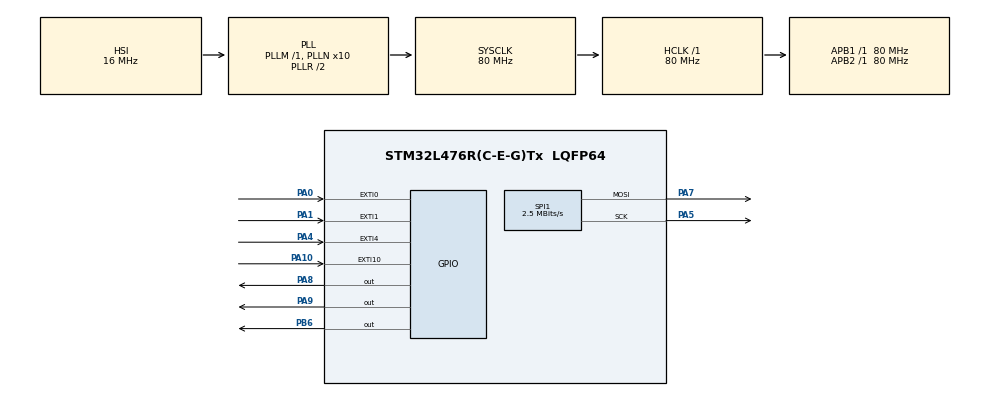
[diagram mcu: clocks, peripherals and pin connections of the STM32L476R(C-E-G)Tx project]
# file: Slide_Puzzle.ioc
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Mcu.Family=STM32L4
Mcu.Name=STM32L476R(C-E-G)Tx
Mcu.Package=LQFP64
NVIC.EXTI0_IRQn=true\:0\:0\:false\:false\:true\:true\:true\:true
NVIC.EXTI15_10_IRQn=true\:0\:0\:false\:false\:true\:true\:true\:true
NVIC.EXTI1_IRQn=true\:0\:0\:false\:false\:true\:true\:true\:true
NVIC.EXTI4_IRQn=true\:0\:0\:false\:false\:true\:true\:true\:true
NVIC.PriorityGroup=NVIC_PRIORITYGROUP_4
NVIC.TIM1_UP_TIM16_IRQn=true\:0\:0\:false\:false\:true\:true\:true\:true
PA0.GPIO_ModeDefaultEXTI=GPIO_MODE_IT_FALLING
PA0.GPIO_PuPd=GPIO_PULLUP
PA0.Signal=GPXTI0
PA1.GPIO_ModeDefaultEXTI=GPIO_MODE_IT_FALLING
PA1.GPIO_PuPd=GPIO_PULLUP
PA1.Signal=GPXTI1
PA10.GPIO_ModeDefaultEXTI=GPIO_MODE_IT_FALLING
PA10.GPIO_PuPd=GPIO_PULLUP
PA10.Signal=GPXTI10
PA13\ (JTMS-SWDIO).GPIO_Label=TMS
PA13\ (JTMS-SWDIO).Mode=Serial_Wire
PA13\ (JTMS-SWDIO).Signal=SYS_JTMS-SWDIO
PA14\ (JTCK-SWCLK).GPIO_Label=TCK
PA14\ (JTCK-SWCLK).Mode=Serial_Wire
PA14\ (JTCK-SWCLK).Signal=SYS_JTCK-SWCLK
PA4.GPIO_ModeDefaultEXTI=GPIO_MODE_IT_FALLING
PA4.GPIO_PuPd=GPIO_PULLUP
PA4.Signal=GPXTI4
PA5.Mode=TX_Only_Simplex_Unidirect_Master
PA5.Signal=SPI1_SCK
PA7.Mode=TX_Only_Simplex_Unidirect_Master
PA7.Signal=SPI1_MOSI
PA8.Signal=GPIO_Output
PA9.Signal=GPIO_Output
PB3\ (JTDO-TRACESWO).GPIO_Label=SWO
PB3\ (JTDO-TRACESWO).Signal=SYS_JTDO-SWO
PB6.Signal=GPIO_Output
PC14-OSC32_IN\ (PC14).Mode=LSE-External-Oscillator
PC14-OSC32_IN\ (PC14).Signal=RCC_OSC32_IN
PC15-OSC32_OUT\ (PC15).Mode=LSE-External-Oscillator
PC15-OSC32_OUT\ (PC15).Signal=RCC_OSC32_OUT
PH0-OSC_IN\ (PH0).Signal=RCC_OSC_IN
PH1-OSC_OUT\ (PH1).Signal=RCC_OSC_OUT
ProjectManager.HeapSize=0x200
ProjectManager.StackSize=0x400
ProjectManager.TargetToolchain=STM32CubeIDE
RCC.ADCFreq_Value=64000000
RCC.AHBFreq_Value=80000000
RCC.APB1Freq_Value=80000000
RCC.APB1TimFreq_Value=80000000
RCC.APB2Freq_Value=80000000
RCC.APB2TimFreq_Value=80000000
RCC.CortexFreq_Value=80000000
RCC.HCLKFreq_Value=80000000
RCC.HSE_VALUE=8000000
RCC.HSI_VALUE=16000000
RCC.MSI_VALUE=4000000
RCC.PLLN=10
RCC.PLLSourceVirtual=RCC_PLLSOURCE_HSI
RCC.PREFETCH_ENABLE=1
RCC.SYSCLKFreq_VALUE=80000000
RCC.SYSCLKSource=RCC_SYSCLKSOURCE_PLLCLK
RCC.USBFreq_Value=64000000
RCC.VCOOutputFreq_Value=160000000
SPI1.BaudRatePrescaler=SPI_BAUDRATEPRESCALER_32
SPI1.CalculateBaudRate=2.5 MBits/s
SPI1.DataSize=SPI_DATASIZE_8BIT
SPI1.Direction=SPI_DIRECTION_2LINES
SPI1.Mode=SPI_MODE_MASTER
SPI1.VirtualType=VM_MASTER
TIM16.Period=9999
TIM16.Prescaler=7999
VP_TIM16_VS_ClockSourceINT.Mode=Enable_Timer
board=NUCLEO-L476RG

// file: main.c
/* USER CODE BEGIN Header */
/**
 ******************************************************************************
 * @file           : main.c
 * @brief          : Main program body
 ******************************************************************************
 * @attention
 *
 * Copyright (c) 2023 STMicroelectronics.
 * All rights reserved.
 *
 * This software is licensed under terms that can be found in the LICENSE file
 * in the root directory of this software component.
 * If no LICENSE file comes with this software, it is provided AS-IS.
 *
 ******************************************************************************
 */
/* USER CODE END Header */
#include "main.h"

/* USER CODE BEGIN Includes */
#include <stdio.h>
#include <stdlib.h>

/* USER CODE END Includes */

/* USER CODE BEGIN PM */
#define CE_PORT GPIOB // PB6 chip enable (aka slave select)
#define CE_PIN GPIO_PIN_6
#define DC_PORT GPIOA // PA0 data/control
#define DC_PIN GPIO_PIN_8
#define RESET_PORT GPIOA // PA1 reset
#define RESET_PIN GPIO_PIN_9
#define GLCD_WIDTH 84
#define GLCD_HEIGHT 48
#define NUM_BANKS 6

/* USER CODE END PM */

SPI_HandleTypeDef hspi1;

TIM_HandleTypeDef htim16;

/* USER CODE BEGIN PV */

// table containing all of the different numbers for the puzzle
const char puzzle_piece_table[][21] = { { 0xFF, 0xFF, 0xFF, 0xFF, 0xFF, 0xFF, 0xFF,
		0xFF, 0xFF, 0xFF, 0xFF, 0xFF, 0xFF, 0xFF, 0xFF, 0xFF, 0xFF, 0xFF, 0xFF,
		0xFF, 0xFF }, // 'block'    0

		{ 0x00, 0x00, 0x00, 0x00, 0x00, 0x00, 0x00, 0x08, 0x0C, 0xFE, 0xFE,
				0xFE, 0x00, 0x00, 0x00, 0x00, 0x00, 0x00, 0x00, 0x00, 0x00 }, // 'top 1'    1

		{ 0x00, 0x00, 0x00, 0x00, 0x00, 0x00, 0x00, 0x70, 0x70, 0x7F, 0x7F,
				0x7F, 0x70, 0x70, 0x00, 0x00, 0x00, 0x00, 0x00, 0x00, 0x00 }, // 'bottom 1' 2

		{ 0x00, 0x00, 0x00, 0x00, 0x00, 0x00, 0x00, 0x18, 0x1C, 0x06, 0x06,
				0x0E, 0xFC, 0xF8, 0x00, 0x00, 0x00, 0x00, 0x00, 0x00, 0x00 }, // 'top 2'    3

		{ 0x00, 0x00, 0x00, 0x00, 0x00, 0x00, 0x00, 0x70, 0x78, 0x7C, 0x6E,
				0x67, 0x63, 0x61, 0x00, 0x00, 0x00, 0x00, 0x00, 0x00, 0x00 }, // 'bottom 2' 4

		{ 0x00, 0x00, 0x00, 0x00, 0x00, 0x00, 0x00, 0x18, 0x1C, 0x0E, 0x8E,
				0x8E, 0xFC, 0x78, 0x00, 0x00, 0x00, 0x00, 0x00, 0x00, 0x00 }, // 'top 3'    5

		{ 0x00, 0x00, 0x00, 0x00, 0x00, 0x00, 0x00, 0x18, 0x38, 0x70, 0x71,
				0x71, 0x3F, 0x1E, 0x00, 0x00, 0x00, 0x00, 0x00, 0x00, 0x00 }, // 'bottom 3' 6

		{ 0x00, 0x00, 0x00, 0x00, 0x00, 0x00, 0x00, 0xFE, 0xFE, 0x80, 0x80,
				0x80, 0xFE, 0xFE, 0x00, 0x00, 0x00, 0x00, 0x00, 0x00, 0x00 }, // 'top 4'    7

		{ 0x00, 0x00, 0x00, 0x00, 0x00, 0x00, 0x00, 0x01, 0x01, 0x01, 0x01,
				0x01, 0x7F, 0x7F, 0x00, 0x00, 0x00, 0x00, 0x00, 0x00, 0x00 }, // 'bottom 4' 8

		{ 0x00, 0x00, 0x00, 0x00, 0x00, 0x00, 0x00, 0xFE, 0xFE, 0x86, 0x86,
				0x86, 0x86, 0x06, 0x00, 0x00, 0x00, 0x00, 0x00, 0x00, 0x00 }, // 'top 5'    9

		{ 0x00, 0x00, 0x00, 0x00, 0x00, 0x00, 0x00, 0x70, 0x71, 0x61, 0x61,
				0x61, 0x7F, 0x3F, 0x00, 0x00, 0x00, 0x00, 0x00, 0x00, 0x00 }, // 'bottom 5' 10

		{ 0x00, 0x00, 0x00, 0x00, 0x00, 0x00, 0x00, 0xFC, 0xFE, 0x06, 0x86,
				0x86, 0x8E, 0x0E, 0x00, 0x00, 0x00, 0x00, 0x00, 0x00, 0x00 }, // 'top 6'    11

		{ 0x00, 0x00, 0x00, 0x00, 0x00, 0x00, 0x00, 0x3F, 0x7F, 0x61, 0x61,
				0x61, 0x7F, 0x3F, 0x00, 0x00, 0x00, 0x00, 0x00, 0x00, 0x00 }, // 'bottom 6' 12

		{ 0x00, 0x00, 0x00, 0x00, 0x00, 0x00, 0x00, 0x06, 0x06, 0x86, 0xE6,
				0xF6, 0x7E, 0x1E, 0x00, 0x00, 0x00, 0x00, 0x00, 0x00, 0x00 }, // 'top 7'    13

		{ 0x00, 0x00, 0x00, 0x00, 0x00, 0x00, 0x00, 0x78, 0x7E, 0x1F, 0x07,
				0x01, 0x00, 0x00, 0x00, 0x00, 0x00, 0x00, 0x00, 0x00, 0x00 }, // 'bottom 7' 14

		{ 0x00, 0x00, 0x00, 0x00, 0x00, 0x00, 0x00, 0x7C, 0xFE, 0x86, 0x86,
				0x86, 0xFE, 0x7C, 0x00, 0x00, 0x00, 0x00, 0x00, 0x00, 0x00 }, // 'top 8'    15

		{ 0x00, 0x00, 0x00, 0x00, 0x00, 0x00, 0x00, 0x3E, 0x7F, 0x61, 0x61,
				0x61, 0x7F, 0x3E, 0x00, 0x00, 0x00, 0x00, 0x00, 0x00, 0x00 }, // 'bottom 8' 16

		{ 0x00, 0x00, 0x00, 0x00, 0x00, 0x00, 0x00, 0xFE, 0xFE, 0x86, 0x86,
				0x86, 0xFE, 0xFE, 0x00, 0x00, 0x00, 0x00, 0x00, 0x00, 0x00 }, // 'top 9'    17

		{ 0x00, 0x00, 0x00, 0x00, 0x00, 0x00, 0x00, 0x01, 0x01, 0x01, 0x01,
				0x01, 0x7F, 0x7F, 0x00, 0x00, 0x00, 0x00, 0x00, 0x00, 0x00 }, // 'bottom 9' 18

		{ 0x00, 0x00, 0x00, 0x08, 0x0C, 0xFE, 0xFE, 0xFE, 0x00, 0x00, 0x00,
				0xFC, 0xFE, 0x06, 0x06, 0x06, 0xFE, 0xFC, 0x00, 0x00, 0x00 }, // 'top 10'    19

		{ 0x00, 0x00, 0x00, 0x70, 0x70, 0x7F, 0x7F, 0x7F, 0x70, 0x70, 0x00,
				0x3F, 0x7F, 0x60, 0x60, 0x60, 0x7F, 0x3F, 0x00, 0x00, 0x00 }, // 'bottom 10' 20

		{ 0x00, 0x00, 0x00, 0x08, 0x0C, 0xFE, 0xFE, 0xFE, 0x00, 0x00, 0x00,
				0x08, 0x0C, 0xFE, 0xFE, 0xFE, 0x00, 0x00, 0x00, 0x00, 0x00 }, // 'top 11'    21

		{ 0x00, 0x00, 0x00, 0x70, 0x70, 0x7F, 0x7F, 0x7F, 0x70, 0x70, 0x00,
				0x70, 0x70, 0x7F, 0x7F, 0x7F, 0x70, 0x70, 0x00, 0x00, 0x00 }, // 'bottom 11' 22

		{ 0x00, 0x00, 0x00, 0x00, 0x00, 0x00, 0x00, 0xFC, 0xFE, 0x06, 0x06,
				0x06, 0xFE, 0xFC, 0x00, 0x00, 0x00, 0x00, 0x00, 0x00, 0x00 }, // 'top 0'     23

		{ 0x00, 0x00, 0x00, 0x00, 0x00, 0x00, 0x00, 0x3F, 0x7F, 0x60, 0x60,
				0x60, 0x7F, 0x3F, 0x00, 0x00, 0x00, 0x00, 0x00, 0x00, 0x00 }, // 'bottom 0'  24

		};

// table containing the font
const char font_table[][6] = { { 0x00, 0x00, 0x00, 0x00, 0x00, 0x00 }, // space 0
		{ 0x00, 0x00, 0x5F, 0x00, 0x00, 0x00 }, // '!' 1
		{ 0x7E, 0x11, 0x11, 0x11, 0x7E, 0x00 }, // 'A' 2
		{ 0x7F, 0x49, 0x49, 0x49, 0x36, 0x00 }, // 'B' 3
		{ 0x3E, 0x41, 0x41, 0x41, 0x22, 0x00 }, // 'C' 4
		{ 0x7F, 0x41, 0x41, 0x41, 0x3E, 0x00 }, // 'D' 5
		{ 0x7F, 0x49, 0x49, 0x49, 0x41, 0x00 }, // 'E' 6
		{ 0x7F, 0x09, 0x09, 0x09, 0x01, 0x00 }, // 'F' 7
		{ 0x7F, 0x41, 0x59, 0x49, 0x7B, 0x00 }, // 'G' 8
		{ 0x7F, 0x08, 0x08, 0x08, 0x7F, 0x00 }, // 'H' 9
		{ 0x41, 0x41, 0x7F, 0x41, 0x41, 0x00 }, // 'I' 10
		{ 0x21, 0x41, 0x3F, 0x01, 0x01, 0x00 }, // 'J' 11
		{ 0x7F, 0x08, 0x14, 0x22, 0x41, 0x00 }, // 'K' 12
		{ 0x7F, 0x40, 0x40, 0x40, 0x40, 0x00 }, // 'L' 13
		{ 0x7F, 0x02, 0x04, 0x02, 0x7F, 0x00 }, // 'M' 14
		{ 0x7F, 0x06, 0x18, 0x60, 0x7F, 0x00 }, // 'N' 15
		{ 0x3E, 0x41, 0x41, 0x41, 0x3E, 0x00 }, // 'O' 16
		{ 0x7F, 0x09, 0x09, 0x09, 0x0F, 0x00 }, // 'P' 17
		{ 0x3E, 0x41, 0x41, 0x61, 0x7E, 0x00 }, // 'Q' 18
		{ 0x7F, 0x09, 0x19, 0x29, 0x47, 0x00 }, // 'R' 19
		{ 0x62, 0x4D, 0x49, 0x59, 0x23, 0x00 }, // 'S' 20
		{ 0x01, 0x01, 0x7F, 0x01, 0x01, 0x00 }, // 'T' 21
		{ 0x3F, 0x40, 0x40, 0x40, 0x3F, 0x00 }, // 'U' 22
		{ 0x0F, 0x30, 0x40, 0x30, 0x0F, 0x00 }, // 'V' 23
		{ 0x3F, 0x40, 0x78, 0x40, 0x3F, 0x00 }, // 'W' 24
		{ 0x41, 0x36, 0x08, 0x36, 0x41, 0x00 }, // 'X' 25
		{ 0x01, 0x06, 0x78, 0x06, 0x01, 0x00 }, // 'Y' 26
		{ 0x61, 0x51, 0x49, 0x45, 0x43, 0x00 }, // 'Z' 27
		{ 0x00, 0x00, 0x7E, 0x81, 0xB5, 0xA1 }, // front of smiley face 28
		{ 0xA1, 0xB5, 0x81, 0x7E, 0x00, 0x00 }  // back  of smiley face 29

};

// used for saving where the last piece was placed
unsigned int xPosition = 0;
unsigned int yPosition = 0;

// boolean variables used to tell the system whether a piece can be moved in a certain direction
int right = 0;
int left = 0;
int up = 0;
int down = 0;

// boolean variable that tells the display functions whether the input is a piece or a number
int piece = 1;

// the array that is mixed up and the solved array that it is compared to
int numbers[] = { 10, 9, 4, 7, 11, 6, 3, 8, 5, 1, 2, 0 };
int solved[] =  { 1, 2, 3, 4, 5, 6, 7, 8, 9, 10, 11, 0 };
//tester[] =  { 1, 2, 3, 4, 5, 6, 8, 11, 9, 10, 7, 0 };
// numbers[] = { 10, 9, 4, 7, 11, 6, 3, 8, 5, 1, 2, 0 };

// keeps track of the location of the blank space and which number slid most recently
int blankIndex = 11;
int slidingNumber;

// keeps track of the time
int timer = 0;

// tells the while loop when the puzzle was completed and stops interrupts from working
int done = 0;

/* USER CODE END PV */

void SystemClock_Config(void);
static void MX_GPIO_Init(void);
static void MX_SPI1_Init(void);
static void MX_TIM16_Init(void);
/* USER CODE BEGIN PFP */
void SPI_write(unsigned char data);
void GLCD_data_write(unsigned char data);
void GLCD_command_write(unsigned char data);
void GLCD_init(int normal);
void GLCD_setCursor(unsigned char x, unsigned char y);
void GLCD_clear(void);
void GLCD_putPiece(int puzzle_piece_table_row, int piece);
void GLCD_putchar(int font_table_row);
void DisplayNumber(int number, unsigned int x, unsigned int y, int piece);
void DisplayBlank(unsigned int x, unsigned int y, int piece);
// from https://www.includehelp.com/code-snippets/c-program-to-compare-two-arrays.aspx
char compareArray(int a[],int b[],int size);

/* USER CODE END PFP */

/* USER CODE BEGIN 0 */

// all of the interrupt instructions
// depending on what button was pushed the blankIndex variable will be changed by 1 or 4
// the slidingNumber variable is then assigned to that new blankIndex
// the values in the array are then switched (0 with whatever number was there prior)
// the blank space and number is then displayed on the screen and the x and y position variables are updated
void HAL_GPIO_EXTI_Callback(uint16_t GPIO_Pin) {
	// Slide Left
	if(!done){
		if (GPIO_Pin == GPIO_PIN_0 && left) {
			blankIndex += 1;
			slidingNumber = numbers[blankIndex];
			numbers[blankIndex] = 0;
			numbers[blankIndex - 1] = slidingNumber;
			DisplayNumber(slidingNumber, xPosition, yPosition, piece);
			xPosition += (unsigned int) 21;
			DisplayNumber(0, xPosition, yPosition, piece);

		}

		// Slide Down
		else if (GPIO_Pin == GPIO_PIN_1 && down) // change 'X' to pin number
				{
			blankIndex -= 4;
			slidingNumber = numbers[blankIndex];
			numbers[blankIndex] = 0;
			numbers[blankIndex + 4] = slidingNumber;
			DisplayNumber(slidingNumber, xPosition, yPosition, piece);
			yPosition -= (unsigned int) 2;
			DisplayNumber(0, xPosition, yPosition, piece);

		}

		// Slide Up
		else if (GPIO_Pin == GPIO_PIN_4 && up) // change 'X' to pin number
				{
			blankIndex += 4;
			slidingNumber = numbers[blankIndex];
			numbers[blankIndex] = 0;
			numbers[blankIndex - 4] = slidingNumber;
			DisplayNumber(slidingNumber, xPosition, yPosition, piece);
			yPosition += (unsigned int) 2;
			DisplayNumber(0, xPosition, yPosition, piece);

		}

		// Slide Right
		else if (GPIO_Pin == GPIO_PIN_10 && right) {
			blankIndex -= 1;
			slidingNumber = numbers[blankIndex];
			numbers[blankIndex] = 0;
			numbers[blankIndex + 1] = slidingNumber;
			DisplayNumber(slidingNumber, xPosition, yPosition, piece);
			xPosition -= (unsigned int) 21;
			DisplayNumber(0, xPosition, yPosition, piece);

		}

		for (int i=1 ; i<700 ; i++); // help with button bouncing
	}
}

/* USER CODE END 0 */

int main(void)
{

  /* MCU Configuration--------------------------------------------------------*/

  /* Reset of all peripherals, Initializes the Flash interface and the Systick. */
  HAL_Init();

  /* Configure the system clock */
  SystemClock_Config();

  /* Initialize all configured peripherals */
  MX_GPIO_Init();
  MX_SPI1_Init();
  MX_TIM16_Init();
  /* USER CODE BEGIN 2 */
  HAL_TIM_Base_Start_IT(&htim16); // Start timer
  	int normal = 0; // declares whether screen is shown inverted or normal
	GLCD_init(normal); // initialize the screen as inverted
	GLCD_clear(); // clear the screen

	// Display each puzzle piece
	for (int i = 0; i < 12; i++) {
		DisplayNumber(numbers[i], xPosition, yPosition, piece);
		xPosition += (unsigned int) 21;

		// Resets the x when x = 63 and adds 2 to y
		if (xPosition > (unsigned int) 63) {
			xPosition = 0;
			yPosition += 2;
		}
	}

	// sets cursor at the blankIndex position
	xPosition = 63;
	yPosition = 4;

  /* USER CODE END 2 */

  /* Infinite loop */
  /* USER CODE BEGIN WHILE */
	while (!done) {
    /* USER CODE END WHILE */

    /* USER CODE BEGIN 3 */

		// switch case that reads the blankIndex and changes the boolean values for whether a piece can be moved in a certain direction
		switch (blankIndex) {
		case 0:
			left = 1;
			right = 0;
			up = 1;
			down = 0;
			break;
		case 1:
			left = 1;
			right = 1;
			up = 1;
			down = 0;
			break;
		case 2:
			left = 1;
			right = 1;
			up = 1;
			down = 0;
			break;
		case 3:
			left = 0;
			right = 1;
			up = 1;
			down = 0;
			break;
		case 4:
			left = 1;
			right = 0;
			up = 1;
			down = 1;
			break;
		case 5:
			left = 1;
			right = 1;
			up = 1;
			down = 1;
			break;
		case 6:
			left = 1;
			right = 1;
			up = 1;
			down = 1;
			break;
		case 7:
			left = 0;
			right = 1;
			up = 1;
			down = 1;
			break;
		case 8:
			left = 1;
			right = 0;
			up = 0;
			down = 1;
			break;
		case 9:
			left = 1;
			right = 1;
			up = 0;
			down = 1;
			break;
		case 10:
			left = 1;
			right = 1;
			up = 0;
			down = 1;
			break;
		case 11:
			left = 0;
			right = 1;
			up = 0;
			down = 1;
			break;
		}

		// checks to see if number array is equal to the solved array
		if(compareArray(numbers, solved,12)==0){
			normal = 1;
			GLCD_init(normal); // initialize the screen as normal
			GLCD_clear();

			// ends while loops and stops interrupts from being executed
			done = 1;

			// an array used to hold the individual digits of the end timer. Initialized at 0.
			int timerArray[3];
			timerArray[0] = 0;
			timerArray[1] = 0;
			timerArray[2] = 0;

			int i = 2;
			// from https://www.log2base2.com/c-examples/loop/split-a-number-into-digits-in-c.html
			while(timer > 0) //do till timer greater than  0
			    {
			        int digit = timer % 10;  //split last digit from number
			        timerArray[i] = digit;

			        timer /= 10;    //divide timer by 10.
			        i--;
			    }

			// prepares the digits and font to display in the middle of the screen
			xPosition = 11;

			// changes piece variable to false so just the number will be displayed
			piece = 0;

			// displays the end time on screen
			for(i = 0; i <= 2; i++){
				if(timerArray[i] == 0){ // the digit 0 was added later to table so we need to change value to 12
					timerArray[i] = 12;
				}
				DisplayNumber(timerArray[i], xPosition, 2, piece);
				xPosition += 8;
			}

			// Displays "SECONDS"
			GLCD_setCursor(xPosition+1, 3);
			GLCD_putchar(20);
			GLCD_putchar(6);
			GLCD_putchar(4);
			GLCD_putchar(16);
			GLCD_putchar(15);
			GLCD_putchar(5);
			GLCD_putchar(20);

			// Displays "GREAT JOB!! :)"
			GLCD_setCursor(1, 4);
			GLCD_putchar(8);
			GLCD_putchar(19);
			GLCD_putchar(6);
			GLCD_putchar(2);
			GLCD_putchar(21);
			GLCD_putchar(0);
			GLCD_putchar(11);
			GLCD_putchar(16);
			GLCD_putchar(3);
			GLCD_putchar(1);
			GLCD_putchar(1);
			GLCD_putchar(0);
			GLCD_putchar(28);
			GLCD_putchar(29);

		}

	}
	while(1);
  /* USER CODE END 3 */
}

void SystemClock_Config(void)
{
  RCC_OscInitTypeDef RCC_OscInitStruct = {0};
  RCC_ClkInitTypeDef RCC_ClkInitStruct = {0};

  /** Configure the main internal regulator output voltage
  */
  if (HAL_PWREx_ControlVoltageScaling(PWR_REGULATOR_VOLTAGE_SCALE1) != HAL_OK)
  {
    Error_Handler();
  }

  /** Initializes the RCC Oscillators according to the specified parameters
  * in the RCC_OscInitTypeDef structure.
  */
  RCC_OscInitStruct.OscillatorType = RCC_OSCILLATORTYPE_HSI;
  RCC_OscInitStruct.HSIState = RCC_HSI_ON;
  RCC_OscInitStruct.HSICalibrationValue = RCC_HSICALIBRATION_DEFAULT;
  RCC_OscInitStruct.PLL.PLLState = RCC_PLL_ON;
  RCC_OscInitStruct.PLL.PLLSource = RCC_PLLSOURCE_HSI;
  RCC_OscInitStruct.PLL.PLLM = 1;
  RCC_OscInitStruct.PLL.PLLN = 10;
  RCC_OscInitStruct.PLL.PLLP = RCC_PLLP_DIV7;
  RCC_OscInitStruct.PLL.PLLQ = RCC_PLLQ_DIV2;
  RCC_OscInitStruct.PLL.PLLR = RCC_PLLR_DIV2;
  if (HAL_RCC_OscConfig(&RCC_OscInitStruct) != HAL_OK)
  {
    Error_Handler();
  }

  /** Initializes the CPU, AHB and APB buses clocks
  */
  RCC_ClkInitStruct.ClockType = RCC_CLOCKTYPE_HCLK|RCC_CLOCKTYPE_SYSCLK
                              |RCC_CLOCKTYPE_PCLK1|RCC_CLOCKTYPE_PCLK2;
  RCC_ClkInitStruct.SYSCLKSource = RCC_SYSCLKSOURCE_PLLCLK;
  RCC_ClkInitStruct.AHBCLKDivider = RCC_SYSCLK_DIV1;
  RCC_ClkInitStruct.APB1CLKDivider = RCC_HCLK_DIV1;
  RCC_ClkInitStruct.APB2CLKDivider = RCC_HCLK_DIV1;

  if (HAL_RCC_ClockConfig(&RCC_ClkInitStruct, FLASH_LATENCY_4) != HAL_OK)
  {
    Error_Handler();
  }
}

static void MX_SPI1_Init(void)
{

  /* SPI1 parameter configuration*/
  hspi1.Instance = SPI1;
  hspi1.Init.Mode = SPI_MODE_MASTER;
  hspi1.Init.Direction = SPI_DIRECTION_2LINES;
  hspi1.Init.DataSize = SPI_DATASIZE_8BIT;
  hspi1.Init.CLKPolarity = SPI_POLARITY_LOW;
  hspi1.Init.CLKPhase = SPI_PHASE_1EDGE;
  hspi1.Init.NSS = SPI_NSS_SOFT;
  hspi1.Init.BaudRatePrescaler = SPI_BAUDRATEPRESCALER_32;
  hspi1.Init.FirstBit = SPI_FIRSTBIT_MSB;
  hspi1.Init.TIMode = SPI_TIMODE_DISABLE;
  hspi1.Init.CRCCalculation = SPI_CRCCALCULATION_DISABLE;
  hspi1.Init.CRCPolynomial = 7;
  hspi1.Init.CRCLength = SPI_CRC_LENGTH_DATASIZE;
  hspi1.Init.NSSPMode = SPI_NSS_PULSE_ENABLE;
  if (HAL_SPI_Init(&hspi1) != HAL_OK)
  {
    Error_Handler();
  }

}

static void MX_TIM16_Init(void)
{

  htim16.Instance = TIM16;
  htim16.Init.Prescaler = 7999;
  htim16.Init.CounterMode = TIM_COUNTERMODE_UP;
  htim16.Init.Period = 9999;
  htim16.Init.ClockDivision = TIM_CLOCKDIVISION_DIV1;
  htim16.Init.RepetitionCounter = 0;
  htim16.Init.AutoReloadPreload = TIM_AUTORELOAD_PRELOAD_DISABLE;
  if (HAL_TIM_Base_Init(&htim16) != HAL_OK)
  {
    Error_Handler();
  }

}

static void MX_GPIO_Init(void)
{
  GPIO_InitTypeDef GPIO_InitStruct = {0};

  /* GPIO Ports Clock Enable */
  __HAL_RCC_GPIOC_CLK_ENABLE();
  __HAL_RCC_GPIOH_CLK_ENABLE();
  __HAL_RCC_GPIOA_CLK_ENABLE();
  __HAL_RCC_GPIOB_CLK_ENABLE();

  /*Configure GPIO pin Output Level */
  HAL_GPIO_WritePin(GPIOA, GPIO_PIN_8|GPIO_PIN_9, GPIO_PIN_RESET);

  /*Configure GPIO pin Output Level */
  HAL_GPIO_WritePin(GPIOB, GPIO_PIN_6, GPIO_PIN_RESET);

  /*Configure GPIO pins : PA0 PA1 PA4 PA10 */
  GPIO_InitStruct.Pin = GPIO_PIN_0|GPIO_PIN_1|GPIO_PIN_4|GPIO_PIN_10;
  GPIO_InitStruct.Mode = GPIO_MODE_IT_FALLING;
  GPIO_InitStruct.Pull = GPIO_PULLUP;
  HAL_GPIO_Init(GPIOA, &GPIO_InitStruct);

  /*Configure GPIO pins : PA8 PA9 */
  GPIO_InitStruct.Pin = GPIO_PIN_8|GPIO_PIN_9;
  GPIO_InitStruct.Mode = GPIO_MODE_OUTPUT_PP;
  GPIO_InitStruct.Pull = GPIO_NOPULL;
  GPIO_InitStruct.Speed = GPIO_SPEED_FREQ_LOW;
  HAL_GPIO_Init(GPIOA, &GPIO_InitStruct);

  /*Configure GPIO pin : PB6 */
  GPIO_InitStruct.Pin = GPIO_PIN_6;
  GPIO_InitStruct.Mode = GPIO_MODE_OUTPUT_PP;
  GPIO_InitStruct.Pull = GPIO_NOPULL;
  GPIO_InitStruct.Speed = GPIO_SPEED_FREQ_LOW;
  HAL_GPIO_Init(GPIOB, &GPIO_InitStruct);

  /* EXTI interrupt init*/
  HAL_NVIC_SetPriority(EXTI0_IRQn, 0, 0);
  HAL_NVIC_EnableIRQ(EXTI0_IRQn);

  HAL_NVIC_SetPriority(EXTI1_IRQn, 0, 0);
  HAL_NVIC_EnableIRQ(EXTI1_IRQn);

  HAL_NVIC_SetPriority(EXTI4_IRQn, 0, 0);
  HAL_NVIC_EnableIRQ(EXTI4_IRQn);

  HAL_NVIC_SetPriority(EXTI15_10_IRQn, 0, 0);
  HAL_NVIC_EnableIRQ(EXTI15_10_IRQn);

}

/* USER CODE BEGIN 4 */
void SPI_write(unsigned char data) {
// Chip Enable (low is asserted)
	HAL_GPIO_WritePin(CE_PORT, CE_PIN, GPIO_PIN_RESET);
// Send data over SPI1
	HAL_SPI_Transmit(&hspi1, (uint8_t*) &data, 1, HAL_MAX_DELAY);
// Chip Disable
	HAL_GPIO_WritePin(CE_PORT, CE_PIN, GPIO_PIN_SET);
}

void GLCD_data_write(unsigned char data) {
// Switch to "data" mode (D/C pin high)
	HAL_GPIO_WritePin(DC_PORT, DC_PIN, GPIO_PIN_SET);
// Send data over SPI
	SPI_write(data);
}

void GLCD_command_write(unsigned char data) {
// Switch to "command" mode (D/C pin low)
	HAL_GPIO_WritePin(DC_PORT, DC_PIN, GPIO_PIN_RESET);
// Send data over SPI
	SPI_write(data);
}

void GLCD_init(int normal) {
// Keep CE high when not transmitting
	HAL_GPIO_WritePin(CE_PORT, CE_PIN, GPIO_PIN_SET);
// Reset the screen (low pulse - down & up)
	HAL_GPIO_WritePin(RESET_PORT, RESET_PIN, GPIO_PIN_RESET);
	HAL_GPIO_WritePin(RESET_PORT, RESET_PIN, GPIO_PIN_SET);
// Configure the screen (according to the datasheet)
	GLCD_command_write(0x21); // enter extended command mode
	GLCD_command_write(0xB0); // set LCD Vop for contrast (this may be adjusted)
	GLCD_command_write(0x04); // set temp coefficient
	GLCD_command_write(0x15); // set LCD bias mode (this may be adjusted)
	GLCD_command_write(0x20); // return to normal command mode
	if(normal){
		GLCD_command_write(0x0C); // set display normal mode
	} else {
		GLCD_command_write(0x0D); // set display inverted mode
	}
}

void GLCD_setCursor(unsigned char x, unsigned char y) {
	GLCD_command_write(0x80 | x); // column
	GLCD_command_write(0x40 | y); // bank
}

void GLCD_clear(void) {
	int i;
	for (i = 0; i < (GLCD_WIDTH * NUM_BANKS); i++) {
		GLCD_data_write(0x00); // write zeros
	}
	GLCD_setCursor(0, 0); // return cursor to top left
}

void GLCD_putPiece(int puzzle_piece_table_row, int piece) {
	int i;
	if(piece){ // if piece is true then it displays the full 21 hex values in the table row
		for (i = 0; i < 21; i++) {
			GLCD_data_write(puzzle_piece_table[puzzle_piece_table_row][i]);
		}
	} else { // if just a digit then it displays the 7 hex values containing the outline of the digit
		//8-14
		for (i = 7; i <= 13; i++) {
			GLCD_data_write(puzzle_piece_table[puzzle_piece_table_row][i]);
		}
	}
}

void GLCD_putchar(int font_table_row){
	int i;
	for (i=0; i<6; i++){
	 GLCD_data_write(font_table[font_table_row][i]);
	 }
}

// used to not have to use so many of the putPiece functions and covers two banks rather than 1.
void DisplayNumber(int number, unsigned int x, unsigned int y, int piece) {
	if (number == 0) {
		DisplayBlank(x, y, piece);
	} else {
		GLCD_setCursor(x, y);
		GLCD_putPiece(((number * 2) - 1), piece);
		GLCD_setCursor(x, y + 1);
		GLCD_putPiece((number * 2), piece);
	}
}

// used to display the blank space
void DisplayBlank(unsigned int x, unsigned int y, int piece) {
	GLCD_setCursor(x, y);
	GLCD_putPiece(0, piece);
	GLCD_setCursor(x, y + 1);
	GLCD_putPiece(0, piece);
}

//function to compare array elements from https://www.includehelp.com/code-snippets/c-program-to-compare-two-arrays.aspx
char compareArray(int a[],int b[],int size)	{
	int i;
	for(i=0;i<size;i++){
		if(a[i]!=b[i])
			return 1;
	}
	return 0;
}

// Callback: timer has rolled over
void HAL_TIM_PeriodElapsedCallback(TIM_HandleTypeDef *htim)
{
 // Check which version of the timer triggered this callback and toggle LED
 if (htim == &htim16)
 {
 timer ++;
 }
}

/* USER CODE END 4 */

void Error_Handler(void)
{
	__disable_irq();
	while (1) {
	}
}
